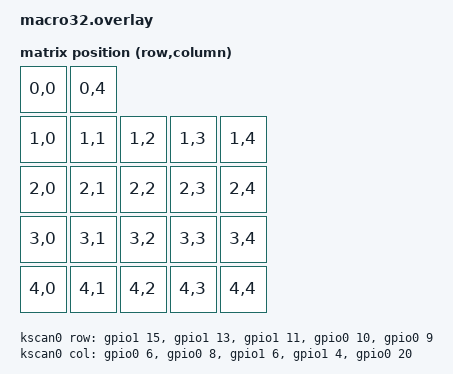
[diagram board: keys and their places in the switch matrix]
#include <physical_layouts.dtsi>
#include <dt-bindings/zmk/matrix_transform.h>
#include "macro32-layouts.dtsi"

/ {
    chosen {
        zmk,kscan = &matrix;
        zmk,physical-layout = &macro32_layout;
    };

	kscan0: kscan {
		compatible = "zmk,kscan-gpio-matrix";
		wakeup-source;
		diode-direction = "col2row";

		col-gpios = 
			<&gpio0 6 GPIO_ACTIVE_HIGH>,
			<&gpio0 8 GPIO_ACTIVE_HIGH>,
			<&gpio1 6 GPIO_ACTIVE_HIGH>,
			<&gpio1 4 GPIO_ACTIVE_HIGH>,
			<&gpio0 20 GPIO_ACTIVE_HIGH>;

		row-gpios =
			<&gpio1 15 (GPIO_ACTIVE_HIGH | GPIO_PULL_DOWN)>,
			<&gpio1 13 (GPIO_ACTIVE_HIGH | GPIO_PULL_DOWN)>,
			<&gpio1 11 (GPIO_ACTIVE_HIGH | GPIO_PULL_DOWN)>,
			<&gpio0 10 (GPIO_ACTIVE_HIGH | GPIO_PULL_DOWN)>,
			<&gpio0 9 (GPIO_ACTIVE_HIGH | GPIO_PULL_DOWN)>;
	};

	default_transform: matrix_transform {
        compatible = "zmk,matrix-transform";
        rows = <5>;
        columns = <5>;
        map = <
            RC(0,0) RC(0,4)
            RC(1,0) RC(1,1) RC(1,2) RC(1,3) RC(1,4)
            RC(2,0) RC(2,1) RC(2,2) RC(2,3) RC(2,4)
            RC(3,0) RC(3,1) RC(3,2) RC(3,3) RC(3,4)
            RC(4,0) RC(4,1) RC(4,2) RC(4,3) RC(4,4)
        >;
    };
};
